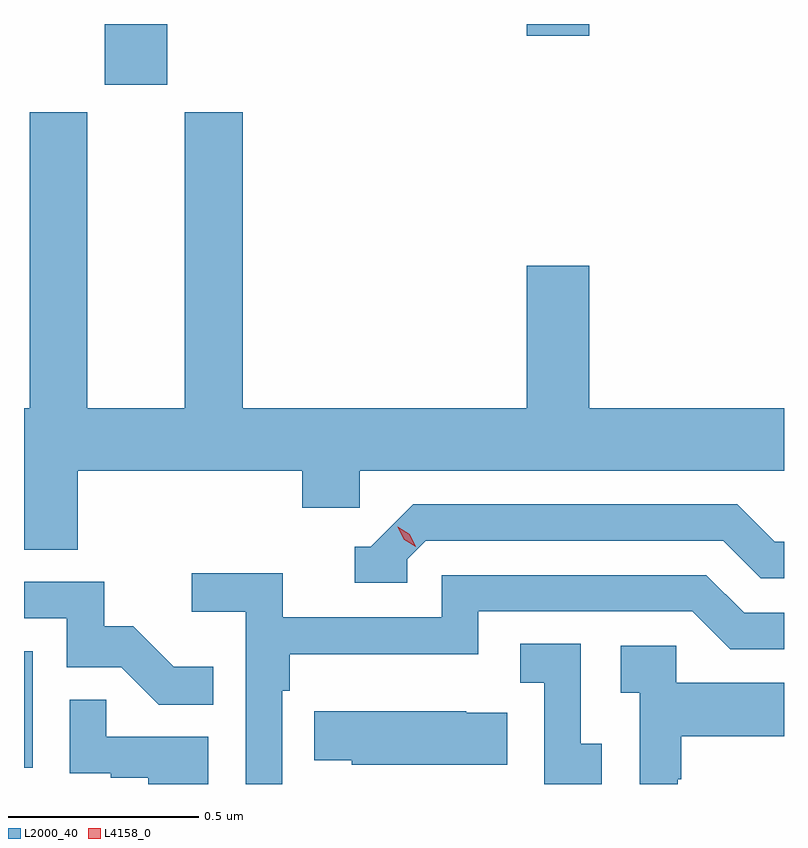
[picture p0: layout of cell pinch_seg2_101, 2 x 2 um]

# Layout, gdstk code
import gdstk
lib = gdstk.Library(unit=1e-6, precision=1e-09)
def R(c, l, rs):  # rectangles x0, y0, x1, y1
    for r in rs: c.add(gdstk.rectangle(r[:2], r[2:], *l))
def P(c, l, *ps):  # polygons
    for p in ps: c.add(gdstk.Polygon(p, *l))
L2000_40 = (2000, 40)
L4158_0 = (4158, 0)

pinch_seg2_101 = lib.new_cell('pinch_seg2_101')
R(pinch_seg2_101, L2000_40, [(1074.773,636.198,1074.796,636.505), (1074.986,637.995,1075.15,638.155), (1076.096,638.124,1076.26,638.155)])
P(pinch_seg2_101, L2000_40, [(1074.914,636.98),(1075.505,636.98),(1075.505,636.882),(1075.656,636.882),(1075.656,636.98),(1076.773,636.98),(1076.773,637.144),(1076.26,637.144),(1076.26,637.519),(1076.096,637.519),(1076.096,637.144),(1075.349,637.144),(1075.349,637.923),(1075.196,637.923),(1075.196,637.144),(1074.94,637.144),(1074.94,637.923),(1074.788,637.923),(1074.788,637.144),(1074.773,637.144),(1074.773,636.772),(1074.914,636.772)],
  [(1075.782,636.747),(1075.83,636.795),(1076.613,636.795),(1076.712,636.696),(1076.773,636.696),(1076.773,636.792),(1076.749,636.792),(1076.65,636.891),(1075.797,636.891),(1075.686,636.78),(1075.643,636.78),(1075.643,636.684),(1075.782,636.684)],
  [(1075.452,636.401),(1075.472,636.401),(1075.472,636.497),(1075.968,636.497),(1075.968,636.609),(1076.532,636.609),(1076.631,636.51),(1076.773,636.51),(1076.773,636.606),(1076.668,636.606),(1076.569,636.705),(1075.872,636.705),(1075.872,636.594),(1075.454,636.594),(1075.454,636.71),(1075.215,636.71),(1075.215,636.608),(1075.356,636.608),(1075.356,636.155),(1075.452,636.155)],
  [(1075.271,636.463),(1075.167,636.463),(1075.06,636.57),(1074.984,636.57),(1074.984,636.687),(1074.773,636.687),(1074.773,636.591),(1074.885,636.591),(1074.885,636.462),(1075.029,636.462),(1075.127,636.364),(1075.271,636.364)],
  [(1076.293,636.261),(1076.238,636.261),(1076.238,636.524),(1076.079,636.524),(1076.079,636.421),(1076.142,636.421),(1076.142,636.155),(1076.293,636.155)],
  [(1076.493,636.167),(1076.503,636.167),(1076.503,636.281),(1076.773,636.281),(1076.773,636.421),(1076.49,636.421),(1076.49,636.519),(1076.343,636.519),(1076.343,636.395),(1076.394,636.395),(1076.394,636.155),(1076.493,636.155)],
  [(1075.258,636.279),(1074.989,636.279),(1074.989,636.377),(1074.894,636.377),(1074.894,636.183),(1075.001,636.183),(1075.001,636.171),(1075.1,636.171),(1075.1,636.155),(1075.258,636.155)],
  [(1076.045,636.343),(1075.937,636.343),(1075.937,636.346),(1075.537,636.346),(1075.537,636.217),(1075.635,636.217),(1075.635,636.206),(1076.045,636.206)])
P(pinch_seg2_101, L4158_0, [(1075.804,636.779),(1075.773,636.798),(1075.757,636.831),(1075.757,636.832),(1075.757,636.832),(1075.788,636.812),(1075.804,636.779),(1075.804,636.779)])

lib.write_gds('pinch_seg2_101.gds')
